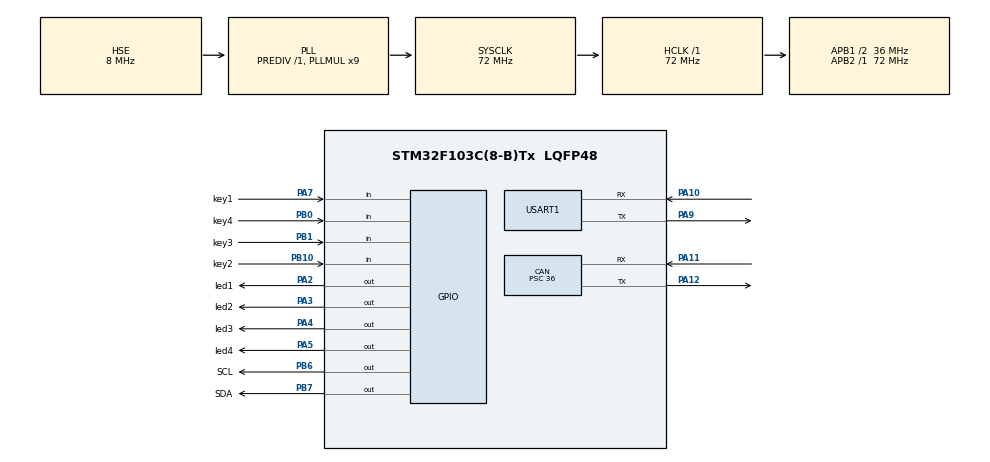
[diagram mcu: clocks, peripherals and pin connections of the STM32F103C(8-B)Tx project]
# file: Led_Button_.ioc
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CAN.ABOM=ENABLE
CAN.AWUM=ENABLE
CAN.BS1=CAN_BS1_2TQ
CAN.BS2=CAN_BS2_3TQ
CAN.CalculateBaudRate=166666
CAN.CalculateTimeBit=6000
CAN.CalculateTimeQuantum=1000.0
CAN.Mode=CAN_MODE_NORMAL
CAN.Prescaler=36
Mcu.Family=STM32F1
Mcu.Name=STM32F103C(8-B)Tx
Mcu.Package=LQFP48
NVIC.PriorityGroup=NVIC_PRIORITYGROUP_4
NVIC.USART1_IRQn=true\:0\:0\:false\:false\:true\:true\:true\:true
PA10.Mode=Asynchronous
PA10.Signal=USART1_RX
PA11.Mode=CAN_Activate
PA11.Signal=CAN_RX
PA12.Mode=CAN_Activate
PA12.Signal=CAN_TX
PA13.Mode=Serial_Wire
PA13.Signal=SYS_JTMS-SWDIO
PA14.Mode=Serial_Wire
PA14.Signal=SYS_JTCK-SWCLK
PA2.GPIO_Label=led1
PA2.GPIO_PuPd=GPIO_PULLUP
PA2.Signal=GPIO_Output
PA3.GPIO_Label=led2
PA3.GPIO_PuPd=GPIO_PULLUP
PA3.Signal=GPIO_Output
PA4.GPIO_Label=led3
PA4.GPIO_PuPd=GPIO_PULLUP
PA4.Signal=GPIO_Output
PA5.GPIO_Label=led4
PA5.GPIO_PuPd=GPIO_PULLUP
PA5.Signal=GPIO_Output
PA7.GPIO_Label=key1
PA7.GPIO_PuPd=GPIO_PULLUP
PA7.Signal=GPIO_Input
PA9.Mode=Asynchronous
PA9.Signal=USART1_TX
PB0.GPIO_Label=key4
PB0.GPIO_PuPd=GPIO_PULLUP
PB0.Signal=GPIO_Input
PB1.GPIO_Label=key3
PB1.GPIO_PuPd=GPIO_PULLUP
PB1.Signal=GPIO_Input
PB10.GPIO_Label=key2
PB10.GPIO_PuPd=GPIO_PULLUP
PB10.Signal=GPIO_Input
PB6.GPIO_Label=SCL
PB6.Signal=GPIO_Output
PB7.GPIO_Label=SDA
PB7.Signal=GPIO_Output
PC14-OSC32_IN.Mode=LSE-External-Oscillator
PC14-OSC32_IN.Signal=RCC_OSC32_IN
PC15-OSC32_OUT.Mode=LSE-External-Oscillator
PC15-OSC32_OUT.Signal=RCC_OSC32_OUT
PD0-OSC_IN.Mode=HSE-External-Oscillator
PD0-OSC_IN.Signal=RCC_OSC_IN
PD1-OSC_OUT.Mode=HSE-External-Oscillator
PD1-OSC_OUT.Signal=RCC_OSC_OUT
ProjectManager.HeapSize=0x200
ProjectManager.StackSize=0x400
ProjectManager.TargetToolchain=MDK-ARM V5.32
RCC.AHBFreq_Value=72000000
RCC.APB1CLKDivider=RCC_HCLK_DIV2
RCC.APB1Freq_Value=36000000
RCC.APB1TimFreq_Value=72000000
RCC.APB2Freq_Value=72000000
RCC.APB2TimFreq_Value=72000000
RCC.HCLKFreq_Value=72000000
RCC.PLLMUL=RCC_PLL_MUL9
RCC.PLLSourceVirtual=RCC_PLLSOURCE_HSE
RCC.SYSCLKFreq_VALUE=72000000
RCC.SYSCLKSource=RCC_SYSCLKSOURCE_PLLCLK
RCC.USBFreq_Value=72000000
USART1.VirtualMode=VM_ASYNC
board=custom

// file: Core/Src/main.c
/* USER CODE BEGIN Header */
/**
  ******************************************************************************
  * @file           : main.c
  * @brief          : Main program body
  ******************************************************************************
  * @attention
  *
  * Copyright (c) 2026 STMicroelectronics.
  * All rights reserved.
  *
  * This software is licensed under terms that can be found in the LICENSE file
  * in the root directory of this software component.
  * If no LICENSE file comes with this software, it is provided AS-IS.
  *
  ******************************************************************************
  */
/* USER CODE END Header */
#include "main.h"
#include "can.h"
#include "usart.h"
#include "gpio.h"

/* USER CODE BEGIN Includes */
#include "driver_key.h"
#include "driver_led.h"
#include "driver_can.h"
#include "driver_oled.h"
#include "stdio.h"
/* USER CODE END Includes */

/* USER CODE BEGIN PTD */
typedef struct {
  volatile uint8_t led1_state ;
  volatile uint8_t led2_state ;
  volatile uint8_t led3_state ;
  volatile uint8_t led4_state ;
}LED_State;

/* USER CODE END PTD */

/* USER CODE BEGIN PV */
LED_State g_led_state = {0};

TxMsg g_txMsg[6] = {
    {   // 消息 1
        .txHeader.StdId = 0x666,
        .txHeader.IDE = CAN_ID_STD,
        .txHeader.RTR = CAN_RTR_DATA,
        .txHeader.DLC = 4,
        .txMailBox = 0,
        .data = {0x13, 0x24,0x01, 0x40}
    },
    {   // 消息 2
        .txHeader.StdId = 0x666,
        .txHeader.IDE = CAN_ID_STD,
        .txHeader.RTR = CAN_RTR_DATA,
        .txHeader.DLC = 4,
        .txMailBox = 0,
        .data = {0x13, 0x24,0x02, 0x44}
    },
    {   // 消息 3
        .txHeader.StdId = 0x666,
        .txHeader.IDE = CAN_ID_STD,
        .txHeader.RTR = CAN_RTR_DATA,
        .txHeader.DLC = 4,
        .txMailBox = 0,
        .data = {0x13, 0x24, 0x03, 0x45}
    },
    {   // 消息 4
        .txHeader.StdId = 0x666,
        .txHeader.IDE = CAN_ID_STD,
        .txHeader.RTR = CAN_RTR_DATA,
        .txHeader.DLC = 4,
        .txMailBox = 0,
        .data = {0x13, 0x24, 0x04, 0x46}
    },
    {   // 消息 5
        .txHeader.StdId = 0x666,
        .txHeader.IDE = CAN_ID_STD,
        .txHeader.RTR = CAN_RTR_DATA,
        .txHeader.DLC = 4,
        .txMailBox = 0,
        .data = {0x13, 0x24, 0x05, 0x46}
    },
    {   // 消息 6
        .txHeader.StdId = 0x666,
        .txHeader.IDE = CAN_ID_STD,
        .txHeader.RTR = CAN_RTR_DATA,
        .txHeader.DLC = 4,
        .txMailBox = 0,
        .data = {0x13, 0x24, 0x06, 0x46}
    }
};// 定义一个全局的发送消息结构体数组，每个元素为一个标准ID的4字节数据帧

RxMsg g_rxMsg = {0}; // 定义一个全局的接收消息结构体，初始化为0x00
/* USER CODE END PV */

void SystemClock_Config(void);

int main(void)
{

  /* MCU Configuration--------------------------------------------------------*/

  /* Reset of all peripherals, Initializes the Flash interface and the Systick. */
  HAL_Init();

  /* Configure the system clock */
  SystemClock_Config();

  /* Initialize all configured peripherals */
  MX_GPIO_Init();
  MX_CAN_Init();
  MX_USART1_UART_Init();
  /* USER CODE BEGIN 2 */
	/*MX_CAN_Init()中初始化can配置、开启can通信、初始化can过滤器*/
	int val = 0;

  OLED_Init();
  OLED_ShowString(1, 1, "STID:");
  /* USER CODE END 2 */

  /* Infinite loop */
  /* USER CODE BEGIN WHILE */
  while (1)
  {
    val = Key_Read();
    switch (val)
    {
    case 1:
        g_led_state.led1_state ^= 1;
        if(!g_led_state.led1_state)
        {
          CAN_SendMsg(&g_txMsg[1]);
        }
        else
        {
          CAN_SendMsg(&g_txMsg[0]);
        }
        break;
    case 2:
        g_led_state.led2_state ^= 1;
        if(!g_led_state.led2_state)
        {
          CAN_SendMsg(&g_txMsg[3]);
        }
        else
        {
          CAN_SendMsg(&g_txMsg[2]);
        }
        break;
    case 3:
        g_led_state.led3_state ^= 1;
        if(!g_led_state.led3_state)
        {
          CAN_SendMsg(&g_txMsg[5]);
        }
        else
        {
          CAN_SendMsg(&g_txMsg[4]);
        }
        break;
    case 4:
        g_led_state.led4_state ^= 1;
        // CAN_SendMsg(&g_txMsg[4]);
        break;
    default:
        break;
    }

    if(CAN_IsMsgPending())
    {
        CAN_ReceiveMsg(&g_rxMsg);
        if(g_rxMsg.data[0]==0xaa &&g_rxMsg.data[1]==0x11)
        {
          switch (g_rxMsg.data[2])
          {
          case 0x01:
            if(g_led_state.led1_state != 1)
            {
                g_led_state.led1_state = 1;
               // g_txMsg[0].data[2] = 0x01;
                CAN_SendMsg(&g_txMsg[0]);
            }
          break;
          case 0x02:
            if(g_led_state.led1_state != 0)
            {
                g_led_state.led1_state = 0;
               // g_txMsg[0].data[2] = 0x02;
                CAN_SendMsg(&g_txMsg[1]);
            }
          break;
          case 0x03:
            if(g_led_state.led2_state != 1)
            {
                g_led_state.led2_state = 1;
              //  g_txMsg[1].data[2] = 0x03;
                CAN_SendMsg(&g_txMsg[2]);
            }
          break;
          case 0x04:
            if(g_led_state.led2_state != 0)
            {
                g_led_state.led2_state = 0;
                //g_txMsg[1].data[2] = 0x04;
                CAN_SendMsg(&g_txMsg[3]);
            }
          break;
          case 0x05:
            if(g_led_state.led3_state != 1)
            {
                g_led_state.led3_state = 1;
               // g_txMsg[2].data[2] = 0x05;
                CAN_SendMsg(&g_txMsg[4]);
            }
          break;
          case 0x06:
            if(g_led_state.led3_state != 0)
            {
                g_led_state.led3_state = 0;
                //g_txMsg[2].data[2] = 0x06;
                CAN_SendMsg(&g_txMsg[5]);
            }
          break;
          case 0x07:
            if(g_led_state.led4_state != 1)
            {
                g_led_state.led4_state = 1;
               // g_txMsg[3].data[2] = 0x07;
               // CAN_SendMsg(&g_txMsg[3]);
            }
          break;
          case 0x08:
            if(g_led_state.led4_state != 0)
            {
                g_led_state.led4_state = 0;
               // g_txMsg[3].data[2] = 0x08;
               // CAN_SendMsg(&g_txMsg[3]);
            }
          break;
          default:
            break;
          }
        }
				OLED_ShowString(1, 1, "STID:");
        OLED_ShowHexNum(1, 8, g_rxMsg.rxHeader.StdId, 3);
        OLED_ShowHexNum(2, 1, g_rxMsg.data[0], 2);
        OLED_ShowHexNum(2, 5, g_rxMsg.data[1], 2);
        OLED_ShowHexNum(2, 9, g_rxMsg.data[2], 2);
        OLED_ShowHexNum(2, 13, g_rxMsg.data[3], 2);
    }

    Led_Control(LED_1, g_led_state.led1_state);
    Led_Control(LED_2, g_led_state.led2_state);
    Led_Control(LED_3, g_led_state.led3_state);
    Led_Control(LED_4, g_led_state.led4_state);

    /* USER CODE END WHILE */

  }
}

void SystemClock_Config(void)
{
  RCC_OscInitTypeDef RCC_OscInitStruct = {0};
  RCC_ClkInitTypeDef RCC_ClkInitStruct = {0};

  /** Initializes the RCC Oscillators according to the specified parameters
  * in the RCC_OscInitTypeDef structure.
  */
  RCC_OscInitStruct.OscillatorType = RCC_OSCILLATORTYPE_HSE;
  RCC_OscInitStruct.HSEState = RCC_HSE_ON;
  RCC_OscInitStruct.HSEPredivValue = RCC_HSE_PREDIV_DIV1;
  RCC_OscInitStruct.HSIState = RCC_HSI_ON;
  RCC_OscInitStruct.PLL.PLLState = RCC_PLL_ON;
  RCC_OscInitStruct.PLL.PLLSource = RCC_PLLSOURCE_HSE;
  RCC_OscInitStruct.PLL.PLLMUL = RCC_PLL_MUL9;
  if (HAL_RCC_OscConfig(&RCC_OscInitStruct) != HAL_OK)
  {
    Error_Handler();
  }

  /** Initializes the CPU, AHB and APB buses clocks
  */
  RCC_ClkInitStruct.ClockType = RCC_CLOCKTYPE_HCLK|RCC_CLOCKTYPE_SYSCLK
                              |RCC_CLOCKTYPE_PCLK1|RCC_CLOCKTYPE_PCLK2;
  RCC_ClkInitStruct.SYSCLKSource = RCC_SYSCLKSOURCE_PLLCLK;
  RCC_ClkInitStruct.AHBCLKDivider = RCC_SYSCLK_DIV1;
  RCC_ClkInitStruct.APB1CLKDivider = RCC_HCLK_DIV2;
  RCC_ClkInitStruct.APB2CLKDivider = RCC_HCLK_DIV1;

  if (HAL_RCC_ClockConfig(&RCC_ClkInitStruct, FLASH_LATENCY_2) != HAL_OK)
  {
    Error_Handler();
  }
}

void Error_Handler(void)
{
  __disable_irq();
  while (1)
  {
  }
}
